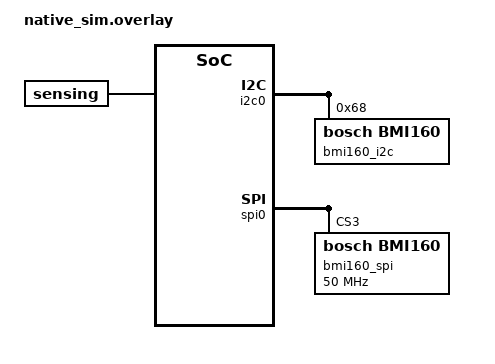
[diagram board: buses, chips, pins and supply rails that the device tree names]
/*
 * Copyright (c) 2023 Intel Corporation
 *
 * SPDX-License-Identifier: Apache-2.0
 */

#include <zephyr/sensing/sensing_sensor_types.h>

&i2c0 {
	bmi160_i2c: bmi@68 {
		compatible = "bosch,bmi160";
		reg = <0x68>;
	};
};

&spi0 {
	bmi160_spi: bmi@3 {
		compatible = "bosch,bmi160";
		spi-max-frequency = <50000000>;
		reg = <0x3>;
	};
};

/ {
	sensing: sensing-node {
		compatible = "zephyr,sensing";
		status = "okay";

		base_accel_gyro: base-accel-gyro {
			compatible = "zephyr,sensing-phy-3d-sensor";
			status = "okay";
			sensor-types = <SENSING_SENSOR_TYPE_MOTION_ACCELEROMETER_3D SENSING_SENSOR_TYPE_MOTION_GYROMETER_3D>;
			friendly-name = "Base Accel Gyro Sensor";
			minimal-interval = <625>;
			underlying-device = <&bmi160_i2c>;
		};

		lid_accel_gyro: lid-accel-gyro {
			compatible = "zephyr,sensing-phy-3d-sensor";
			status = "okay";
			sensor-types = <SENSING_SENSOR_TYPE_MOTION_ACCELEROMETER_3D SENSING_SENSOR_TYPE_MOTION_GYROMETER_3D>;
			friendly-name = "Lid Accel Gyro Sensor";
			minimal-interval = <625>;
			underlying-device = <&bmi160_spi>;
		};

		hinge_angle: hinge-angle {
			compatible = "zephyr,sensing-hinge-angle";
			status = "okay";
			sensor-types = <SENSING_SENSOR_TYPE_MOTION_HINGE_ANGLE>;
			friendly-name = "Hinge Angle Sensor";
			reporters = <&base_accel_gyro &lid_accel_gyro>;
			reporters-index = <0 0>;
			minimal-interval = <100000>;
			stream-mode;
		};
	};
};
